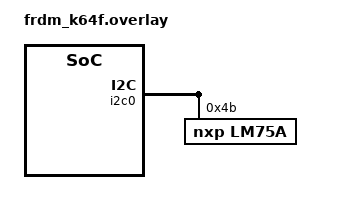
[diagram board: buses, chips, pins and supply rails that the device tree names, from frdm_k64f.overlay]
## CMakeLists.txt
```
cmake_minimum_required(VERSION 3.13.1)

find_package(Zephyr HINTS $ENV{ZEPHYR_BASE})
project(lm75a)

FILE(GLOB app_sources src/*.c)
target_sources(app PRIVATE ${app_sources})
```

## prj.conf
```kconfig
CONFIG_STDOUT_CONSOLE=y
CONFIG_LOG=y
CONFIG_I2C=y
CONFIG_SENSOR=y
CONFIG_LM75A=y
CONFIG_SENSOR_LOG_LEVEL_DBG=y
CONFIG_BUILD_OUTPUT_HEX=y
```

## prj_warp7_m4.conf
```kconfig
CONFIG_STDOUT_CONSOLE=y
CONFIG_LOG=y
CONFIG_I2C=y
CONFIG_I2C_3=y
CONFIG_SENSOR=y
CONFIG_LM75A=y
CONFIG_SENSOR_LOG_LEVEL_DBG=y
```

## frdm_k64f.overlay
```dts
&i2c0 {
    status = "okay";
    lm75a@4b {
        compatible = "nxp,lm75a";
        reg = <0x4b>;
        label = "LM75A";
    };
};
```

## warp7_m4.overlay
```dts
/{
    aliases {
      i2c-3 = &i2c3;
    };
};

&i2c3 {
    status = "okay";
    lm75a@4b {
        compatible = "nxp,lm75a";
        reg = <0x4b>;
        label = "LM75A";
    };
};
```

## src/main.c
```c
/*
 * Copyright (c) 2019, Joris Offouga
 * SPDX-License-Identifier: Apache-2.0
 */

#include <zephyr/kernel.h>
#include <zephyr/device.h>
#include <zephyr/drivers/sensor.h>

void main(void)
{
	struct sensor_value temp;
	struct device *dev = device_get_binding("LM75A");

	if (!dev) {
		printk("Could not get lm75a device\n");
		return;
	}

	while (1) {
		sensor_sample_fetch(dev);
		sensor_channel_get(dev, SENSOR_CHAN_AMBIENT_TEMP, &temp);

		printk("Temp is %d (%d micro)\n", temp.val1,
                temp.val2);
		k_sleep(Z_TIMEOUT_TICKS(1000));
	}
}
```
